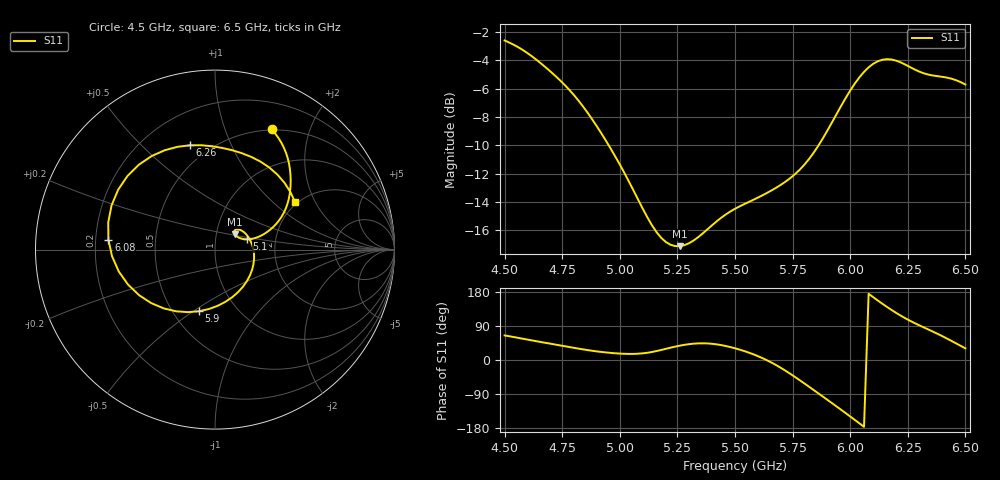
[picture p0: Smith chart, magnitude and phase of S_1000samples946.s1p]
! TOUCHSTONE file generated by CST MICROWAVE STUDIO
! Date and time: Sat Oct 29 21:32:32 2022
! Project name: L.cst
! Parameters = {Di=1.27; Epsilon_r=1.56; InnerDiameter=1.27; Length=2; Lf=10; Lg=60; OuterConductorThickness=0.2921; OuterDiameter=3.6; Wf=3; Wp=41.2; de=1.5; df=6.8; g=0.8; gx=0.941477; gy=2.34143; h=2.34; hf=1.524; px=11.436; py=9.74559; w=9.7; wx=10.4945; wy=7.40416}
! Header version: 2018
! Port assignment regex: !\s*Touchstone port\s*([0-9]+)\s*=\s*(CST MWS port|CST DS port)\s*([0-9]+|Zmin|Zmax)\s*\(\"(.*)\"\)(\s*mode\s*([0-9]+))?.*
! Touchstone port assignment:
! Touchstone port 1 = CST MWS port 1 ("")
# GHz S DB R 50
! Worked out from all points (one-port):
!   101 points, 4.5 GHz to 6.5 GHz, reference 50 ohm
!   lowest |S11| = -17.1 dB at 5.26 GHz (marker M1), VSWR 1.32, Z = 61.3 + j10.7 ohm
!   |S11| at or under -10 dB: 4.952 GHz to 5.863 GHz (911.2 MHz wide, 16.9 % of centre)
!   S11 on the Smith chart (normalised r, x): 4.5 GHz: 0.49, +1.46; 5.1 GHz: 1.43, +0.17; 5.9 GHz: 0.67, -0.53; 6.08 GHz: 0.25, +0.04; 6.26 GHz: 0.39, +0.71; 6.5 GHz: 1.93, +1.41
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4.5  -2.59 64.9
4.62  -3.73 51.5
4.76  -5.72 36.5
4.88  -8.16 24.4
5  -11.36 16.9
5.1  -14.50 17.6
5.18  -16.55 26.5
5.26  -17.14 37.8
5.36  -16.23 44.1
5.5  -14.49 30.9
5.62  -13.53 4.7
5.7  -12.79 -21.1
5.76  -12.05 -44.6
5.84  -10.56 -78.6
5.9  -8.99 -104.6
5.96  -7.24 -131.1
6  -6.13 -149.0
6.04  -5.20 -167.2
6.08  -4.49 174.7
6.12  -4.06 156.9
6.14  -3.95 148.3
6.18  -3.94 131.9
6.22  -4.15 116.8
6.26  -4.47 103.4
6.32  -4.92 85.8
6.38  -5.12 68.8
6.44  -5.30 50.2
6.5  -5.70 30.8
